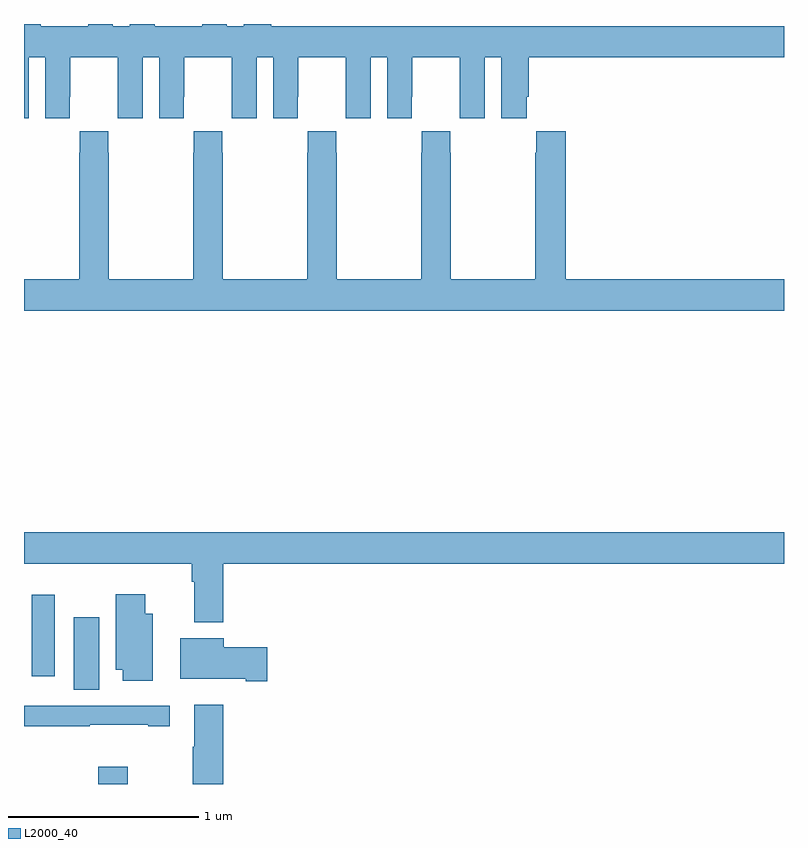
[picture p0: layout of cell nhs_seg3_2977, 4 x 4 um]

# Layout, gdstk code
import gdstk
lib = gdstk.Library(unit=1e-6, precision=1e-09)
def R(c, l, rs):  # rectangles x0, y0, x1, y1
    for r in rs: c.add(gdstk.rectangle(r[:2], r[2:], *l))
def P(c, l, *ps):  # polygons
    for p in ps: c.add(gdstk.Polygon(p, *l))
L2000_40 = (2000, 40)

nhs_seg3_2977 = lib.new_cell('nhs_seg3_2977')
R(nhs_seg3_2977, L2000_40, [(265.39,722.4,265.545,722.491), (265.262,722.896,265.396,723.277), (265.04,722.967,265.162,723.397)])
P(nhs_seg3_2977, L2000_40, [(265.468,726.4),(265.337,726.4),(265.337,726.388),(265.087,726.388),(265.087,726.4),(265,726.4),(265,725.904),(265.024,725.904),(265.024,726.224),(265.112,726.224),(265.112,725.904),(265.242,725.904),(265.242,726.016),(265.243,726.016),(265.243,726.224),(265.493,726.224),(265.493,726.016),(265.494,726.016),(265.494,725.904),(265.624,725.904),(265.624,726.224),(265.712,726.224),(265.712,725.904),(265.842,725.904),(265.842,726.016),(265.843,726.016),(265.843,726.224),(266.093,726.224),(266.093,726.016),(266.094,726.016),(266.094,725.904),(266.224,725.904),(266.224,726.224),(266.312,726.224),(266.312,725.904),(266.442,725.904),(266.442,726.016),(266.443,726.016),(266.443,726.224),(266.693,726.224),(266.693,726.016),(266.694,726.016),(266.694,725.904),(266.824,725.904),(266.824,726.224),(266.912,726.224),(266.912,725.904),(267.042,725.904),(267.042,726.016),(267.043,726.016),(267.043,726.224),(267.293,726.224),(267.293,726.016),(267.294,726.016),(267.294,725.904),(267.424,725.904),(267.424,726.224),(267.512,726.224),(267.512,725.904),(267.646,725.904),(267.646,726.016),(267.656,726.016),(267.656,726.224),(269,726.224),(269,726.388),(266.3,726.388),(266.3,726.4),(266.156,726.4),(266.156,726.388),(266.068,726.388),(266.068,726.4),(265.937,726.4),(265.937,726.388),(265.687,726.388),(265.687,726.4),(265.556,726.4),(265.556,726.388),(265.468,726.388)],
  [(269,725.056),(267.851,725.056),(267.851,725.836),(267.697,725.836),(267.697,725.723),(267.691,725.723),(267.691,725.056),(267.246,725.056),(267.246,725.723),(267.243,725.723),(267.243,725.836),(267.093,725.836),(267.093,725.723),(267.091,725.723),(267.091,725.056),(266.646,725.056),(266.646,725.723),(266.643,725.723),(266.643,725.836),(266.493,725.836),(266.493,725.723),(266.491,725.723),(266.491,725.056),(266.046,725.056),(266.046,725.723),(266.043,725.723),(266.043,725.836),(265.893,725.836),(265.893,725.723),(265.891,725.723),(265.891,725.056),(265.446,725.056),(265.446,725.723),(265.443,725.723),(265.443,725.836),(265.293,725.836),(265.293,725.723),(265.291,725.723),(265.291,725.056),(265,725.056),(265,724.892),(269,724.892)],
  [(266.048,723.56),(269,723.56),(269,723.724),(265,723.724),(265,723.56),(265.883,723.56),(265.883,723.464),(265.895,723.464),(265.895,723.251),(266.048,723.251)],
  [(265.678,723.295),(265.639,723.295),(265.639,723.4),(265.484,723.4),(265.484,723.002),(265.52,723.002),(265.52,722.943),(265.678,722.943)],
  [(266.281,723.12),(266.05,723.12),(266.05,723.166),(265.823,723.166),(265.823,722.954),(266.168,722.954),(266.168,722.942),(266.281,722.942)],
  [(266.048,722.818),(265.895,722.818),(265.895,722.597),(265.888,722.597),(265.888,722.4),(266.048,722.4)],
  [(265.346,722.713),(265.655,722.713),(265.655,722.703),(265.768,722.703),(265.768,722.812),(265.524,722.812),(265.524,722.811),(265.158,722.811),(265.158,722.812),(265,722.812),(265,722.703),(265.346,722.703)])

lib.write_gds('nhs_seg3_2977.gds')
